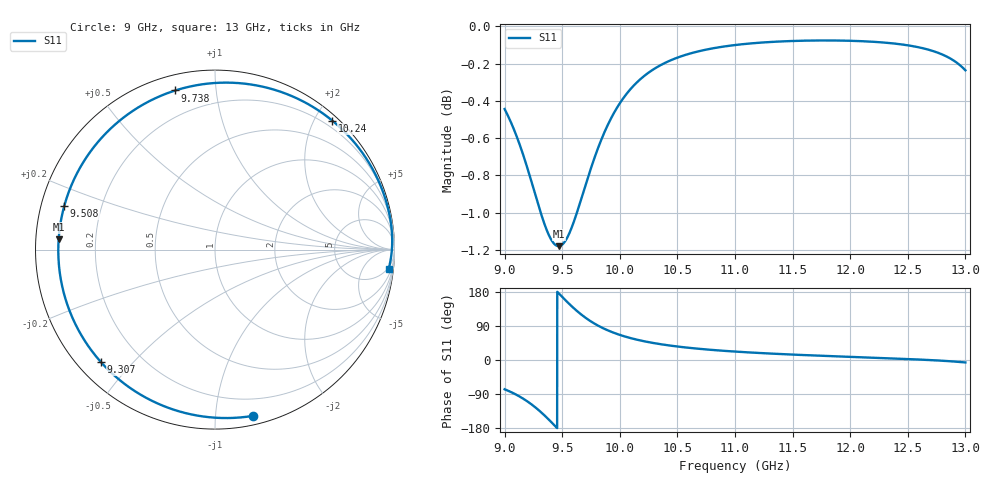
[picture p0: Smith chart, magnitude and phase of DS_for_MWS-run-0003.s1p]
! TOUCHSTONE file generated by CST DESIGN STUDIO
! Date and time: Tue Feb  4 18:10:14 2025
! Project name: C:\Work\MatlabApps\UnitCellOptimizationMatlab\CST\unitcell.cst
! Tree item: Tasks\Sweep1\SPara1\S-Parameters
! Header version: 2024
! Port assignment regex: !\s*Touchstone port\s*([0-9]+)\s*=\s*(CST MWS port|CST DES external port|CST DES block port)\s*(.+)\s* \(\"(.*)\"\)(\s*mode\s*([0-9]+))?.*
! Touchstone port assignment:
! Touchstone port 1 = CST DES external port 1 ("")
# GHz S MA R 50
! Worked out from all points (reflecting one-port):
!   4001 points, 9 GHz to 13 GHz, reference 50 ohm
!   lowest |S11| = -1.2 dB at 9.469 GHz (marker M1), VSWR 14.75, Z = 3.39 + j1.66 ohm
!   phase of S11 starts at -77 deg and turns -289 deg over the sweep
!   S11 on the Smith chart (normalised r, x): 9 GHz: 0.07, -1.25; 9.307 GHz: 0.07, -0.41; 9.508 GHz: 0.07, +0.14; 9.738 GHz: 0.07, +0.78; 10.24 GHz: 0.09, +2.26; 13 GHz: 4, -17
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9  0.9501 -77.2
9.075  0.9393 -87.4
9.173  0.9213 -104.3
9.242  0.9066 -119.0
9.307  0.8926 -135.3
9.353  0.8838 -148.2
9.394  0.8778 -160.4
9.432  0.8742 -172.2
9.469  0.873 176.2
9.5  0.8739 166.5
9.508  0.8743 164.0
9.568  0.8809 145.9
9.623  0.8904 130.7
9.679  0.9017 116.8
9.738  0.9138 104.0
9.798  0.9252 92.9
9.868  0.9368 82.0
10  0.9535 66.2
10.113  0.9634 56.3
10.241  0.9713 47.7
10.5  0.9808 35.6
10.722  0.9852 28.6
11  0.9884 22.2
11.5  0.9909 14.3
12  0.991 8.3
12.5  0.9883 2.5
12.782  0.9832 -1.6
13  0.9731 -6.5
